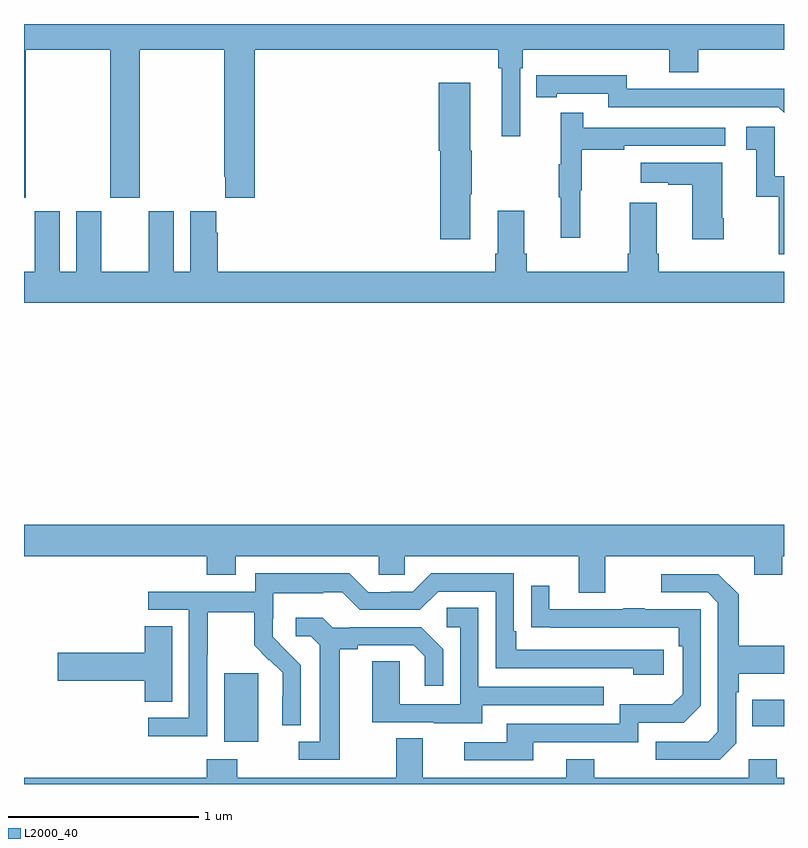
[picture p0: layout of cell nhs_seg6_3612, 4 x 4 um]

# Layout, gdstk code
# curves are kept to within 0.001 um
import gdstk
lib = gdstk.Library(unit=1e-6, precision=1e-09)
def R(c, l, rs):  # rectangles x0, y0, x1, y1
    for r in rs: c.add(gdstk.rectangle(r[:2], r[2:], *l))
def P(c, l, *ps):  # polygons
    for p in ps: c.add(gdstk.Polygon(p, *l))
L2000_40 = (2000, 40)

nhs_seg6_3612 = lib.new_cell('nhs_seg6_3612')
R(nhs_seg6_3612, L2000_40, [(324.053,915.722,324.232,916.083), (326.833,915.803,327,915.943)])
P(nhs_seg6_3612, L2000_40, [(323.01,919.364),(323.455,919.364),(323.455,918.585),(323.61,918.585),(323.61,919.364),(324.055,919.364),(324.055,918.697),(324.059,918.697),(324.059,918.585),(324.215,918.585),(324.215,919.364),(325.495,919.364),(325.495,919.268),(325.514,919.268),(325.514,918.909),(325.611,918.909),(325.611,919.268),(325.625,919.268),(325.625,919.364),(326.396,919.364),(326.396,919.247),(326.549,919.247),(326.549,919.364),(327,919.364),(327,919.5),(323,919.5),(323,918.585),(323.01,918.585)],
  [(327,919.16),(326.632,919.16),(326.632,919.158),(326.172,919.158),(326.172,919.231),(325.696,919.23),(325.696,919.114),(325.804,919.114),(325.804,919.134),(326.076,919.134),(326.076,919.062),(326.97,919.062),(327,919.032)],
  [(325.348,918.604),(325.356,918.604),(325.356,918.834),(325.348,918.834),(325.348,919.192),(325.184,919.192),(325.184,918.834),(325.19,918.834),(325.19,918.366),(325.348,918.366)],
  [(325.928,918.624),(325.936,918.624),(325.936,918.838),(326.159,918.838),(326.159,918.858),(326.692,918.858),(326.692,918.954),(325.943,918.954),(325.943,919.033),(325.826,919.033),(325.826,918.761),(325.815,918.761),(325.815,918.587),(325.826,918.587),(325.826,918.375),(325.928,918.375)],
  [(327,918.699),(326.952,918.699),(326.952,918.958),(326.802,918.958),(326.802,918.837),(326.855,918.837),(326.855,918.591),(326.973,918.591),(326.973,918.288),(327,918.288)],
  [(326.682,918.478),(326.674,918.478),(326.674,918.769),(326.247,918.769),(326.247,918.665),(326.39,918.665),(326.39,918.655),(326.516,918.655),(326.516,918.366),(326.682,918.366)],
  [(327,918.196),(326.342,918.196),(326.342,918.292),(326.329,918.292),(326.329,918.559),(326.189,918.559),(326.189,918.292),(326.177,918.292),(326.177,918.196),(325.646,918.196),(325.646,918.292),(325.633,918.292),(325.633,918.517),(325.493,918.517),(325.493,918.292),(325.481,918.292),(325.481,918.196),(324.02,918.196),(324.02,918.401),(324.013,918.401),(324.013,918.514),(323.876,918.514),(323.876,918.196),(323.788,918.196),(323.788,918.514),(323.657,918.514),(323.657,918.196),(323.407,918.196),(323.407,918.514),(323.276,918.514),(323.276,918.196),(323.188,918.196),(323.188,918.514),(323.057,918.514),(323.057,918.196),(323,918.196),(323,918.032),(327,918.032)],
  [(323,916.7),(323.963,916.7),(323.963,916.601),(324.115,916.601),(324.115,916.7),(324.867,916.7),(324.867,916.602),(325.005,916.602),(325.005,916.7),(325.919,916.7),(325.919,916.506),(326.059,916.506),(326.059,916.7),(326.843,916.7),(326.843,916.601),(326.991,916.601),(326.991,916.7),(327,916.7),(327,916.864),(323,916.864)],
  [(323.964,916.18),(323.967,916.18),(323.967,916.404),(324.211,916.404),(324.211,916.229),(324.288,916.152),(324.291,916.155),(324.362,916.085),(324.362,915.962),(324.36,915.962),(324.36,915.808),(324.456,915.808),(324.456,916.126),(324.31,916.274),(324.31,916.371),(324.312,916.371),(324.312,916.505),(324.575,916.505),(324.575,916.509),(324.675,916.509),(324.768,916.416),(325.083,916.416),(325.179,916.512),(325.482,916.512),(325.482,916.11),(326.207,916.11),(326.207,916.076),(326.368,916.076),(326.368,916.206),(325.591,916.206),(325.591,916.303),(325.578,916.303),(325.578,916.608),(325.143,916.608),(325.047,916.512),(324.929,916.512),(324.929,916.509),(324.813,916.509),(324.713,916.609),(324.216,916.609),(324.216,916.512),(323.655,916.512),(323.655,916.416),(323.868,916.416),(323.868,915.849),(323.655,915.849),(323.655,915.751),(323.964,915.751)],
  [(326.748,915.714),(326.748,915.983),(326.761,915.983),(326.761,916.079),(327,916.079),(327,916.227),(326.761,916.227),(326.761,916.499),(326.655,916.605),(326.355,916.605),(326.355,916.509),(326.598,916.509),(326.652,916.455),(326.652,915.774),(326.601,915.723),(326.325,915.723),(326.325,915.627),(326.661,915.627)],
  [(325.681,915.72),(326.232,915.72),(326.232,915.822),(326.472,915.822),(326.562,915.912),(326.562,916.419),(326.267,916.419),(326.267,916.424),(326.155,916.424),(326.155,916.419),(325.765,916.419),(325.765,916.543),(325.669,916.543),(325.669,916.324),(326.446,916.323),(326.446,916.226),(326.466,916.226),(326.466,915.972),(326.413,915.919),(326.136,915.919),(326.136,915.816),(325.541,915.816),(325.541,915.72),(325.317,915.72),(325.317,915.624),(325.681,915.624)],
  [(325.411,915.915),(326.051,915.915),(326.051,916.011),(325.392,916.011),(325.392,916.427),(325.224,916.427),(325.224,916.326),(325.296,916.326),(325.296,915.921),(324.978,915.921),(324.978,916.145),(324.833,916.145),(324.833,915.825),(325.157,915.825),(325.157,915.821),(325.411,915.821)],
  [(324.661,916.208),(324.757,916.208),(324.757,916.23),(325.052,916.23),(325.109,916.173),(325.109,916.017),(325.206,916.017),(325.206,916.21),(325.09,916.326),(324.718,916.326),(324.718,916.323),(324.624,916.323),(324.572,916.375),(324.429,916.375),(324.429,916.278),(324.51,916.278),(324.557,916.231),(324.557,915.723),(324.447,915.723),(324.447,915.627),(324.661,915.627)],
  [(323.779,916.331),(323.636,916.331),(323.636,916.19),(323.178,916.19),(323.178,916.043),(323.636,916.043),(323.636,915.934),(323.779,915.934)],
  [(327,915.532),(326.961,915.532),(326.961,915.631),(326.814,915.631),(326.814,915.532),(326.001,915.532),(326.001,915.631),(325.853,915.631),(325.853,915.532),(325.099,915.532),(325.099,915.74),(324.959,915.74),(324.959,915.532),(324.123,915.532),(324.123,915.631),(323.963,915.631),(323.963,915.532),(323,915.532),(323,915.5),(327,915.5)])

lib.write_gds('nhs_seg6_3612.gds')
